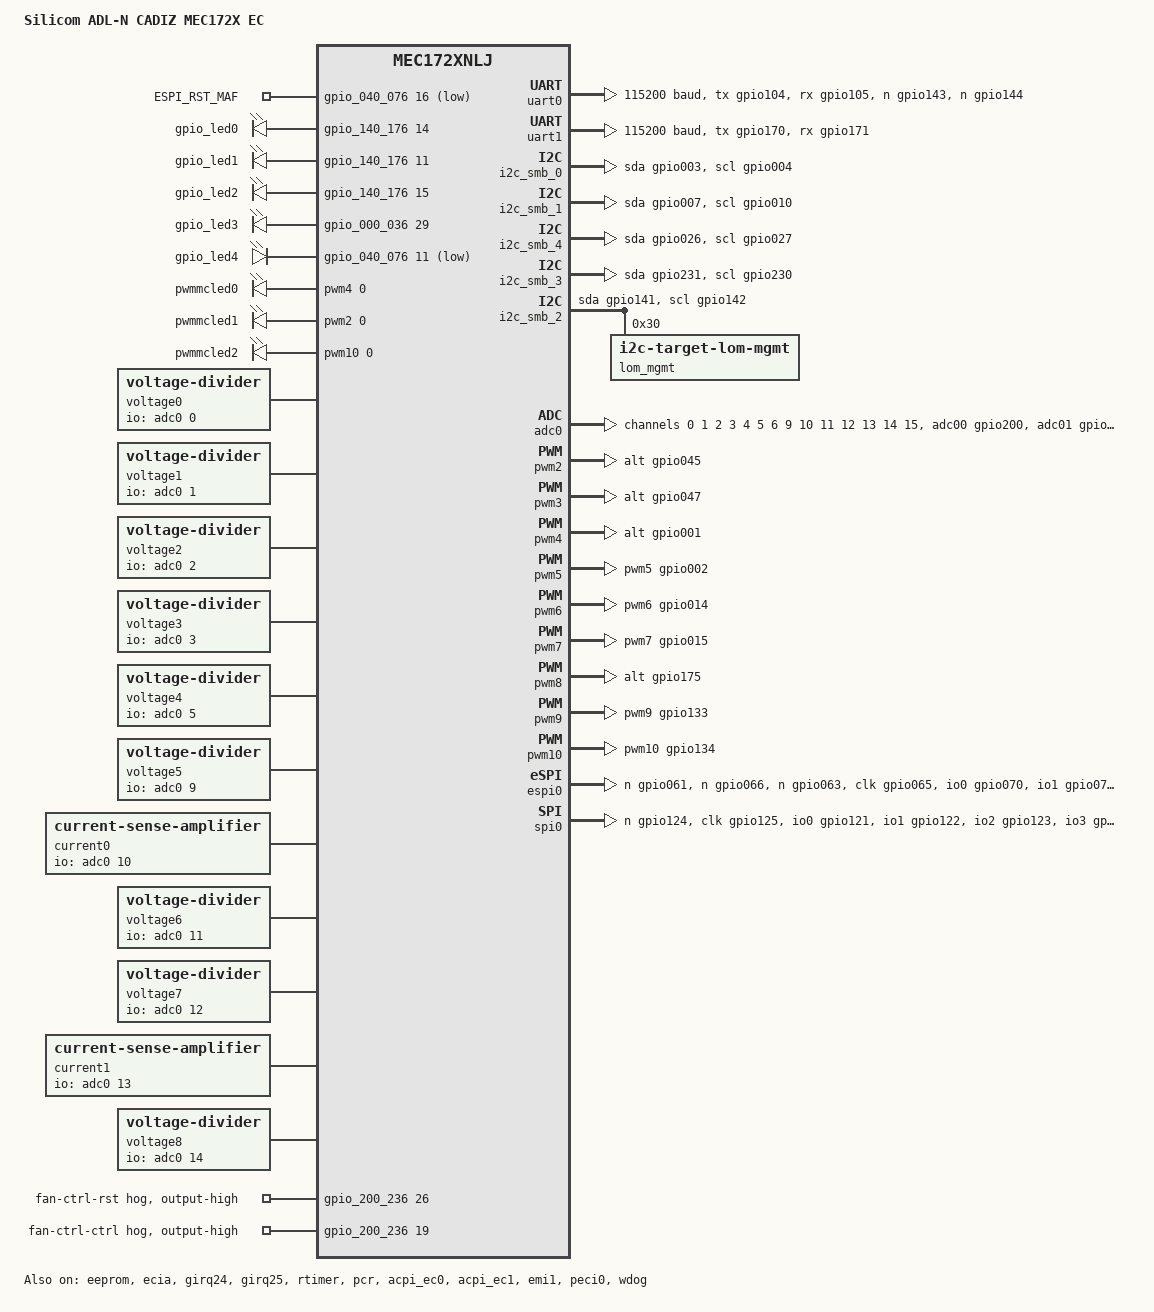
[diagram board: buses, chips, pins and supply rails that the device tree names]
/*
 * Copyright (c) 2025, Silicom Connectivity Solutions
 *
 * SPDX-License-Identifier: Apache-2.0
 */

/dts-v1/;

#include <microchip/mec172xnlj.dtsi>
#include <microchip/mec172x/mec172xnsz-pinctrl.dtsi>
#include <microchip/mec172x/mec172xnlj-pinctrl.dtsi>
#include <zephyr/dt-bindings/pwm/pwm.h>
#include <zephyr/dt-bindings/led/led.h>

/ {
	model = "Silicom ADL-N CADIZ MEC172X EC";
	compatible = "microchip,mec172x_adl_n_cadiz", "microchip,mec172xnlj";

	chosen {
		zephyr,sram = &sram0;
		zephyr,flash = &flash0;
		zephyr,console = &uart1;
		zephyr,shell-uart = &uart1;
	};

	aliases {
		i2c0 = &i2c_smb_0;
		i2c-0 = &i2c_smb_0;
		i2c3 = &i2c_smb_1;
		peci = &peci0;
		led-1 = &pwmmcled0;
		gpioled0 = &gpioled0;
		gpioled1 = &gpioled1;
		gpioled2 = &gpioled2;
		gpioled3 = &gpioled3;
		gpioled4 = &gpioled4;
		eeprom0 = &eeprom;
	};

	cputemp: cpu-temp {
		compatible = "x86-peci-temp";
		peci-dev = <&peci0>;
		status = "disabled";
	};

	gpio_keys {
		compatible = "gpio-keys";

		/* make a DT entry for the ESPI_RESET# input */
		espi_rst_maf: espi-rst {
			gpios = <&gpio_040_076 16 GPIO_ACTIVE_LOW>;
			label = "ESPI_RST_MAF";
		};
	};
  

	/* Front panel GPIO LEDs — each position shares a light pipe with a PWM RGB LED */

	/* Amber: pwr, top-left (GPIO156) */
	gpioled0: gpioled0 {
		compatible = "gpio-leds";
		gpio_led0: led-0 {
			gpios = <&gpio_140_176 14 GPIO_ACTIVE_HIGH>;
		};
	};

	/* Amber: 'A', bottom-left (GPIO153) */
	gpioled1: gpioled1 {
		compatible = "gpio-leds";
		gpio_led1: led-1 {
			gpios = <&gpio_140_176 11 GPIO_ACTIVE_HIGH>;
		};
	};

	/* Amber: 'B', top-right (GPIO157) */
	gpioled2: gpioled2 {
		compatible = "gpio-leds";
		gpio_led2: led-2 {
			gpios = <&gpio_140_176 15 GPIO_ACTIVE_HIGH>;
		};
	};

	/* Amber: mgmt, bottom-right (GPIO035) */
	gpioled3: gpioled3 {
		compatible = "gpio-leds";
		gpio_led3: led-3 {
			gpios = <&gpio_000_036 29 GPIO_ACTIVE_HIGH>;
		};
	};

	/* Blue: mgmt, bottom-right (GPIO053) — active-low; no full RGB PWM available */
	gpioled4: gpioled4 {
		compatible = "gpio-leds";
		gpio_led4: led-4 {
			gpios = <&gpio_040_076 11 GPIO_ACTIVE_LOW>;
		};
	};

	/* RGB LEDs */
	pwm_mc_leds: pwm_mc_leds {
		compatible = "pwm-leds-multicolor";

		/* RGB: pwr, top-left */
		pwmmcled0: topleft {
			pwms = <&pwm4 0 PWM_MSEC(5) PWM_POLARITY_INVERTED>,
			       <&pwm5 0 PWM_MSEC(5) PWM_POLARITY_INVERTED>,
			       <&pwm6 0 PWM_MSEC(5) PWM_POLARITY_INVERTED>;

			color-mapping = <LED_COLOR_ID_RED>,
					<LED_COLOR_ID_GREEN>,
					<LED_COLOR_ID_BLUE>;
		};
		/* RGB: 'A', bottom-left */
		pwmmcled1: bottomleft {
			pwms = <&pwm2 0 PWM_MSEC(5) PWM_POLARITY_INVERTED>,
		       	       <&pwm9  0 PWM_MSEC(5) PWM_POLARITY_INVERTED>,
		       	       <&pwm3  0 PWM_MSEC(5) PWM_POLARITY_INVERTED>;

			color-mapping = <LED_COLOR_ID_RED>,
					<LED_COLOR_ID_GREEN>,
					<LED_COLOR_ID_BLUE>;
		};
		/* RGB: 'B', top-right */
		pwmmcled2: topright {
			pwms = <&pwm10 0 PWM_MSEC(5) PWM_POLARITY_INVERTED>,
			       <&pwm7 0 PWM_MSEC(5) PWM_POLARITY_INVERTED>,
			       <&pwm8 0 PWM_MSEC(5) PWM_POLARITY_INVERTED>;

			color-mapping = <LED_COLOR_ID_RED>,
					<LED_COLOR_ID_GREEN>,
					<LED_COLOR_ID_BLUE>;
		};
	};

	voltage0: voltage12v {
		compatible = "voltage-divider";
		status = "okay";
		io-channels = <&adc0 0>;
		io-channel-names = "12V";
		output-ohms = <3320>;
		full-ohms = <(10000+3320)>; 
	};
	voltage1: voltage5v {
		compatible = "voltage-divider";
		status = "okay";
		io-channels = <&adc0 1>;
		io-channel-names = "5V";
		output-ohms = <1000>;
		full-ohms = <(1000+1000)>;
	};
	voltage2: voltage3v3 {
		compatible = "voltage-divider";
		status = "okay";
		io-channels = <&adc0 2>;
		io-channel-names = "3.3V";
		output-ohms = <1>;
		full-ohms = <1>;
	};
	voltage3: voltage0v85x710 {
		compatible = "voltage-divider";
		status = "okay";
		io-channels = <&adc0 3>;
		io-channel-names = "0.85V_X710";
		output-ohms = <1>;
		full-ohms = <1>;
	};
	voltage4: voltage1v8_proc {
		compatible = "voltage-divider";
		status = "okay";
		io-channels = <&adc0 5>;
		io-channel-names = "1.85V_PROC";
		output-ohms = <1>;
		full-ohms = <1>;
	};
	voltage5: voltage1v8 {
		compatible = "voltage-divider";
		status = "okay";
		io-channels = <&adc0 9>;
		io-channel-names = "1.8V";
		output-ohms = <1>;
		full-ohms = <1>;
	};
	current0: expbpwrmon {
		compatible = "current-sense-amplifier";
		status = "okay";
		io-channels = <&adc0 10>;
		io-channel-names = "EXPB_PWRMON";
		sense-resistor-micro-ohms = <3>;
		sense-gain-mult = <50>;
	};
	voltage6: voltagevccinaux {
		compatible = "voltage-divider";
		status = "okay";
		io-channels = <&adc0 11>;
		io-channel-names = "VCCinAux";
		output-ohms = <1>;
		full-ohms = <1>;
	};
	voltage7: voltage1v065vdd2 {
		compatible = "voltage-divider";
		status = "okay";
		io-channels = <&adc0 12>;
		io-channel-names = "1.065V_VDD2";
		output-ohms = <1>;
		full-ohms = <1>;
	};
	current1: voutpwrmon {
		compatible = "current-sense-amplifier";
		status = "okay";
		io-channels = <&adc0 13>;
		io-channel-names = "VOUT_PWRMON";
		sense-resistor-micro-ohms = <1>;
		sense-gain-mult = <50>;
	};
	voltage8: voltage0v5vddq {
		compatible = "voltage-divider";
		status = "okay";
		io-channels = <&adc0 14>;
		io-channel-names = "0.5V_VDDq";
		output-ohms = <1>;
		full-ohms = <1>;
	};

	smbus1: smbus1 {
		compatible = "microchip,xec-smbus";
		i2c = <&i2c_smb_3>;
		#address-cells = <1>;
		#size-cells = <0>;

		fanctrl0: fanctrl@52 {
			compatible = "maxim,max31785";
			reg = <0x52>;
			reset-gpios = <&gpio_200_236 26 GPIO_ACTIVE_HIGH>;
			ctrl-gpios = <&gpio_200_236 19 GPIO_ACTIVE_HIGH>;
			fans {
				compatible = "maxim,max31785-fan";

				max31785_fan0: fan0 {
					page = <0>;
					mode = "FAN_AUTO_PWM";
					ppr = <2>;
					fan-speeds = <35 35 35 45 60 75 90 100>;
					fan-temps =  <10 20 32 35 38 40 43 45>;
					locked-rotor-en = <0>;
					initial-setting = <25>;
				};
				max31785_fan1: fan1 {
					page = <1>;
					mode = "FAN_AUTO_PWM";
					ppr = <2>;
					fan-speeds = <35 35 35 45 60 75 90 100>;
					fan-temps =  <10 20 32 35 38 40 43 45>;
					locked-rotor-en = <0>;
					initial-setting = <25>;
				};
				max31785_fan2: fan2 {
					page = <2>;
					mode = "FAN_AUTO_PWM";
					ppr = <2>;
					fan-speeds = <35 35 35 45 60 75 90 100>;
					fan-temps =  <10 20 32 35 38 40 43 45>;
					locked-rotor-en = <0>;
					initial-setting = <25>;
				};
				max31785_fan3: fan3 {
					page = <3>;
					mode = "FAN_AUTO_PWM";
					ppr = <2>;
					fan-speeds = <35 35 35 45 60 75 90 100>;
					fan-temps =  <10 20 32 35 38 40 43 45>;
					locked-rotor-en = <0>;
					initial-setting = <10>;
				};
				max31785_fan4: fan4 {
					page = <4>;
					mode = "FAN_AUTO_PWM";
					ppr = <2>;
					fan-speeds = <35 35 35 45 60 75 90 100>;
					fan-temps =  <10 20 32 35 38 40 43 45>;
					locked-rotor-en = <0>;
					initial-setting = <10>;
				};
				max31785_fan5: fan5 {
					page = <5>;
					mode = "FAN_AUTO_PWM";
					ppr = <2>;
					fan-speeds = <35 35 35 45 60 75 90 100>;
					fan-temps =  <10 20 32 35 38 40 43 45>;
					locked-rotor-en = <0>;
					initial-setting = <10>;
				};
			};
			sensors {
				compatible = "maxim,max31785-dts";

				max31785_dts0: dts0 {
					fans = <&max31785_fan0 &max31785_fan1 &max31785_fan2
						&max31785_fan3 &max31785_fan4 &max31785_fan5>;
				};
				max31785_dts1: dts1 {
				};
				max31785_dts2: dts2 {
				};
				max31785_dts3: dts3 {
				};
				max31785_dts4: dts4 {
				};
				max31785_dts5: dts5 {
				};
				max31785_die: die {
				};
				max31785_i2c0: i2c0 {
				};
				max31785_i2c1: i2c1 {
				};
			};
		};
	};

	smbus2: smbus2 {
		compatible = "microchip,xec-smbus";
		i2c = <&i2c_smb_0>;
		#address-cells = <1>;
		#size-cells = <0>;

		mp2964: mp2964@20 {
			status = "disabled";
			compatible = "mps,mp2964";
			reg = <0x20>;

			mp2964_vout_0: vccin {
				compatible = "mps,mp2964-vout";
				status = "disabled";
				page = <0>;
			};
			mp2964_vout_1: vccgt {
				compatible = "mps,mp2964-vout";
				status = "disabled";
				page = <1>;
			};
		};
	};

	zephyr,user {
		pinctrl-0 = <&gpio101 &gpio102 &gpio172 &gpio173 &gpio_uc_2>;
		pinctrl-names = "default";
	};
};

&gpio_200_236 {
	fan-ctrl-rst {
		gpio-hog;
		gpios = <26 GPIO_ACTIVE_HIGH>;
		output-high;
	};
	fan-ctrl-ctrl {
		gpio-hog;
		gpios = <19 GPIO_ACTIVE_HIGH>;
		output-high;
	};
};

&cpu0 {
	clock-frequency = <96000000>;
	status = "okay";
};

&uart0 {
	status = "okay";
	current-speed = <115200>;
	pinctrl-0 = <&uart0_tx_gpio104 &uart0_rx_gpio105
		     &uart0_cts_n_gpio143 &uart0_rts_n_gpio144>;
	pinctrl-names = "default";
};

&uart1 {
	status = "okay";
	current-speed = <115200>;
	pinctrl-0 = <&uart1_tx_gpio170 &uart1_rx_gpio171>;
	pinctrl-names = "default";
};

&eeprom {
	status = "okay";

	pinctrl-0 = <&eeprom_cs_gpio116
		     &eeprom_clk_gpio117
		     &eeprom_mosi_gpio074
		     &eeprom_miso_gpio075>;
	pinctrl-names = "default";
};

&i2c_smb_0 {
	status = "okay";
	port_sel = <0>;

	pinctrl-0 = <&i2c00_sda_gpio003
		     &i2c00_scl_gpio004>;
	pinctrl-names = "default";

};

&i2c_smb_1 {
	status = "okay";
	port_sel = <3>;

	pinctrl-0 = <&i2c03_sda_gpio007
                     &i2c03_scl_gpio010>;
	pinctrl-names = "default";

	spd: dev@54 {
		compatible = "atmel,at24";
		status = "disabled";
		reg = <0x54>;
		size = <256>;
		address-width = <8>;
		timeout = <25>;
		pagesize = <16>;
	};
};

&i2c03_sda_gpio007 {
	drive-open-drain;
	output-high;
};
&i2c03_scl_gpio010 {
	drive-open-drain;
	output-high;
};

&i2c_smb_4 {
	status = "okay";
	port_sel = <12>;
	
	pinctrl-0 = <&i2c12_sda_gpio026 &i2c12_scl_gpio027>;
	pinctrl-names = "default";

	lm75: lm75@4b {
		compatible = "zephyr,i2c-target-lm75";
		reg = <0x4B>;
		target-sensor = <&cputemp>;
		status = "disabled";
	};
};

&i2c12_sda_gpio026 {
	drive-open-drain;
	output-high;
};
&i2c12_scl_gpio027 {
	drive-open-drain;
	output-high;
};

&i2c_smb_3 {
	status = "okay";
	port_sel = <8>;

	pinctrl-0 = <&i2c08_sda_gpio231 &i2c08_scl_gpio230>;
	pinctrl-names = "default";

	fru: dev@56 {
		compatible = "atmel,at24";
		status = "disabled";
		reg = <0x56>;
		size = <512>;
		address-width = <8>;
		timeout = <25>;
		pagesize = <16>;
	};
};

&i2c_smb_2 {
	status = "okay";
	port_sel = <5>;

	//pinctrl-0 = <&i2c11_sda_alt_gpio005 &i2c11_scl_alt_gpio006>;
	pinctrl-0 = <&i2c05_sda_gpio141 &i2c05_scl_gpio142>;
	pinctrl-names = "default";

	lom_mgmt: lom_mgmt@30 {
		compatible = "i2c-target-lom-mgmt";
		status = "okay";
		reg = <0x30>;
	};
};

&i2c03_sda_gpio007 {
	drive-open-drain;
	output-high;
};

&i2c03_scl_gpio010 {
	drive-open-drain;
	output-high;
};

&i2c05_sda_gpio141 {
	drive-open-drain;
	output-high;
};

&i2c05_scl_gpio142 {
	drive-open-drain;
	output-high;
};

&adc0 {
	status = "okay";
	pinctrl-0 = <&adc00_gpio200 &adc01_gpio201
		     &adc02_gpio202 &adc03_gpio203
		     &adc04_gpio204 &adc05_gpio205
		     &adc06_gpio206
		     &adc09_gpio211 &adc10_gpio212
		     &adc11_gpio213 &adc12_gpio214
		     &adc13_gpio215 &adc14_gpio216
		     &adc15_gpio217>;
	pinctrl-names = "default";

	#address-cells = <1>;
	#size-cells = <0>;

	channel@0 {
		reg = <0>;
		zephyr,gain = "ADC_GAIN_1";
		zephyr,reference = "ADC_REF_INTERNAL";
		zephyr,resolution = <10>;
		zephyr,vref-mv = <3300>;
		zephyr,acquisition-time = <ADC_ACQ_TIME_DEFAULT>;
	};

	channel@1 {
		reg = <1>;
		zephyr,gain = "ADC_GAIN_1";
		zephyr,reference = "ADC_REF_INTERNAL";
		zephyr,resolution = <10>;
		zephyr,vref-mv = <3300>;
		zephyr,acquisition-time = <ADC_ACQ_TIME_DEFAULT>;
	};

	channel@2 {
		reg = <2>;
		zephyr,gain = "ADC_GAIN_1";
		zephyr,reference = "ADC_REF_INTERNAL";
		zephyr,resolution = <10>;
		zephyr,vref-mv = <3300>;
		zephyr,acquisition-time = <ADC_ACQ_TIME_DEFAULT>;
	};

	channel@3 {
		reg = <3>;
		zephyr,gain = "ADC_GAIN_1";
		zephyr,reference = "ADC_REF_INTERNAL";
		zephyr,resolution = <10>;
		zephyr,vref-mv = <3300>;
		zephyr,acquisition-time = <ADC_ACQ_TIME_DEFAULT>;
	};

	channel@4 {
		reg = <4>;
		zephyr,gain = "ADC_GAIN_1";
		zephyr,reference = "ADC_REF_INTERNAL";
		zephyr,resolution = <10>;
		zephyr,acquisition-time = <ADC_ACQ_TIME_DEFAULT>;
	};

	channel@5 {
		reg = <5>;
		zephyr,gain = "ADC_GAIN_1";
		zephyr,reference = "ADC_REF_INTERNAL";
		zephyr,resolution = <10>;
		zephyr,acquisition-time = <ADC_ACQ_TIME_DEFAULT>;
	};

	channel@6 {
		reg = <6>;
		zephyr,gain = "ADC_GAIN_1";
		zephyr,reference = "ADC_REF_INTERNAL";
		zephyr,resolution = <10>;
		zephyr,acquisition-time = <ADC_ACQ_TIME_DEFAULT>;
	};

	channel@9 {
		reg = <9>;
		zephyr,gain = "ADC_GAIN_1";
		zephyr,reference = "ADC_REF_INTERNAL";
		zephyr,resolution = <10>;
		zephyr,vref-mv = <3300>;
		zephyr,acquisition-time = <ADC_ACQ_TIME_DEFAULT>;
	};

	channel@a {
		reg = <10>;
		zephyr,gain = "ADC_GAIN_1";
		zephyr,reference = "ADC_REF_INTERNAL";
		zephyr,resolution = <10>;
		zephyr,acquisition-time = <ADC_ACQ_TIME_DEFAULT>;
	};

	channel@b {
		reg = <11>;
		zephyr,gain = "ADC_GAIN_1";
		zephyr,reference = "ADC_REF_INTERNAL";
		zephyr,resolution = <10>;
		zephyr,vref-mv = <3300>;
		zephyr,acquisition-time = <ADC_ACQ_TIME_DEFAULT>;
	};

	channel@c {
		reg = <12>;
		zephyr,gain = "ADC_GAIN_1";
		zephyr,reference = "ADC_REF_INTERNAL";
		zephyr,resolution = <10>;
		zephyr,vref-mv = <3300>;
		zephyr,acquisition-time = <ADC_ACQ_TIME_DEFAULT>;
	};

	channel@d {
		reg = <13>;
		zephyr,gain = "ADC_GAIN_1";
		zephyr,reference = "ADC_REF_INTERNAL";
		zephyr,resolution = <10>;
		zephyr,vref-mv = <3300>;
		zephyr,acquisition-time = <ADC_ACQ_TIME_DEFAULT>;
	};

	channel@e {
		reg = <14>;
		zephyr,gain = "ADC_GAIN_1";
		zephyr,reference = "ADC_REF_INTERNAL";
		zephyr,resolution = <10>;
		zephyr,vref-mv = <3300>;
		zephyr,acquisition-time = <ADC_ACQ_TIME_DEFAULT>;
	};

	channel@f {
		reg = <15>;
		zephyr,gain = "ADC_GAIN_1";
		zephyr,reference = "ADC_REF_INTERNAL";
		zephyr,resolution = <10>;
		zephyr,vref-mv = <3300>;
		zephyr,acquisition-time = <ADC_ACQ_TIME_DEFAULT>;
	};

};

&pwm2 {
	status = "okay";
	pinctrl-0 = <&pwm2_alt_gpio045>;
	pinctrl-names = "default";
};

&pwm3 {
	status = "okay";
	pinctrl-0 = <&pwm3_alt_gpio047>;
	pinctrl-names = "default";
};

&pwm4 {
	status = "okay";
	pinctrl-0 = <&pwm4_alt_gpio001>;
	pinctrl-names = "default";
};

&pwm5 {
	status = "okay";
	pinctrl-0 = <&pwm5_gpio002>;
	pinctrl-names = "default";
};

&pwm6 {
	status = "okay";
	pinctrl-0 = <&pwm6_gpio014>;
	pinctrl-names = "default";
};

&pwm7 {
	status = "okay";
	pinctrl-0 = <&pwm7_gpio015>;
	pinctrl-names = "default";
};

&pwm8 {
	status = "okay";
	pinctrl-0 = <&pwm8_alt_gpio175>;
	pinctrl-names = "default";
};

&pwm9 {
	status = "okay";
	pinctrl-0 = <&pwm9_gpio133>;
	pinctrl-names = "default";
};

&pwm10 {
	status = "okay";
	pinctrl-0 = <&pwm10_gpio134>;
	pinctrl-names = "default";
};

/* Initialize ECIA. Does not initialize child devices */
&ecia {
	status = "okay";
};

/* Enable aggregated GIRQ24 and GIRQ25 for eSPI virtual wires interrupts */
&girq24 {
	status = "okay";
};

&girq25 {
	status = "okay";
};

&rtimer {
	status = "okay";
};

&pcr {
	status = "okay";
};

&espi0 {
	status = "okay";
	pinctrl-0 = < &espi_reset_n_gpio061 &espi_cs_n_gpio066
		      &espi_alert_n_gpio063 &espi_clk_gpio065
		      &espi_io0_gpio070 &espi_io1_gpio071
		      &espi_io2_gpio072 &espi_io3_gpio073 >;
	pinctrl-names = "default";
};

&spi0 {
	status = "okay";
	pinctrl-0 = < &pvt_cs_n_gpio124
		      &pvt_clk_gpio125
		      &pvt_io0_gpio121
		      &pvt_io1_gpio122
		      &pvt_io2_gpio123
		      &pvt_io3_gpio126 >;

	pinctrl-names = "default";
};

&acpi_ec0 {
	status = "okay";
};

&acpi_ec1 {
	status = "okay";
};

&emi1 {
	status = "okay";
};

&peci0 {
	status = "okay";
	pinctrl-0 = < &peci_dat_gpio042 &vref_vtt_gpio044 >;
	pinctrl-names = "default";
};

&pinctrl {
	gpio101: gpio101 {
		pinmux = < MCHP_XEC_PINMUX(0101, MCHP_AF0) >;
		bias-disable;
	};
	gpio102: gpio102 {
		pinmux = < MCHP_XEC_PINMUX(0102, MCHP_AF0) >;
		bias-disable;
	};
	gpio172: gpio172 {
		pinmux = < MCHP_XEC_PINMUX(0172, MCHP_AF0) >;
		bias-disable;
	};
	gpio173: gpio173 {
		pinmux = < MCHP_XEC_PINMUX(0173, MCHP_AF0) >;
		bias-disable;
	};
	gpio_uc_0: gpio112 {
		pinmux = < MCHP_XEC_PINMUX(112, MCHP_GPIO) >;
		bias-pull-down;
	};
	gpio_uc_1: gpio113 {
		pinmux = < MCHP_XEC_PINMUX(113, MCHP_GPIO) >;
		bias-pull-down;
	};
	gpio_uc_2: gpio025 {
		pinmux = < MCHP_XEC_PINMUX(025, MCHP_GPIO) >;
		bias-pull-down;
	};
};

&wdog {
	status = "okay";
};	
